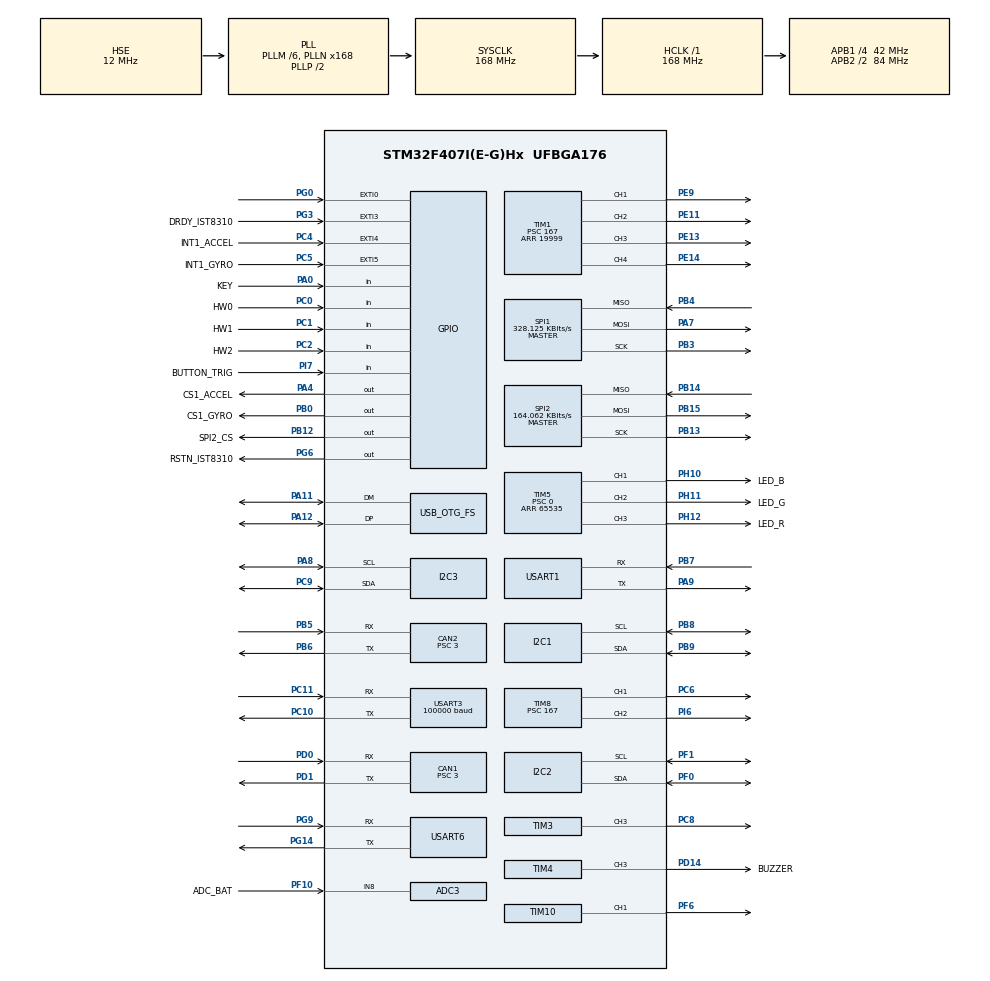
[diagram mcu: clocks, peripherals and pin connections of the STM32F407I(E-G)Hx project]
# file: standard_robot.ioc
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ADC1.Channel-0\#ChannelRegularConversion=ADC_CHANNEL_TEMPSENSOR
ADC1.ClockPrescaler=ADC_CLOCK_SYNC_PCLK_DIV6
ADC1.NbrOfConversionFlag=1
ADC1.Rank-0\#ChannelRegularConversion=1
ADC1.SamplingTime-0\#ChannelRegularConversion=ADC_SAMPLETIME_3CYCLES
ADC1.master=1
ADC3.Channel-0\#ChannelRegularConversion=ADC_CHANNEL_8
ADC3.ClockPrescaler=ADC_CLOCK_SYNC_PCLK_DIV6
ADC3.NbrOfConversionFlag=1
ADC3.Rank-0\#ChannelRegularConversion=1
ADC3.SamplingTime-0\#ChannelRegularConversion=ADC_SAMPLETIME_3CYCLES
CAN1.BS1=CAN_BS1_10TQ
CAN1.BS2=CAN_BS2_3TQ
CAN1.CalculateTimeQuantum=71.42857142857143
CAN1.Prescaler=3
CAN2.BS1=CAN_BS1_10TQ
CAN2.BS2=CAN_BS2_3TQ
CAN2.CalculateTimeQuantum=71.42857142857143
CAN2.Prescaler=3
Dma.I2C2_TX.2.Direction=DMA_MEMORY_TO_PERIPH
Dma.I2C2_TX.2.FIFOMode=DMA_FIFOMODE_DISABLE
Dma.I2C2_TX.2.Instance=DMA1_Stream7
Dma.I2C2_TX.2.MemDataAlignment=DMA_MDATAALIGN_BYTE
Dma.I2C2_TX.2.MemInc=DMA_MINC_ENABLE
Dma.I2C2_TX.2.Mode=DMA_NORMAL
Dma.I2C2_TX.2.PeriphDataAlignment=DMA_PDATAALIGN_BYTE
Dma.I2C2_TX.2.PeriphInc=DMA_PINC_DISABLE
Dma.I2C2_TX.2.Priority=DMA_PRIORITY_HIGH
Dma.Request0=SPI1_RX
Dma.Request1=SPI1_TX
Dma.Request2=I2C2_TX
Dma.Request3=USART3_RX
Dma.Request4=USART6_RX
Dma.Request5=USART6_TX
Dma.Request6=USART1_TX
Dma.Request7=USART1_RX
Dma.SPI1_RX.0.Direction=DMA_PERIPH_TO_MEMORY
Dma.SPI1_RX.0.FIFOMode=DMA_FIFOMODE_DISABLE
Dma.SPI1_RX.0.Instance=DMA2_Stream2
Dma.SPI1_RX.0.MemDataAlignment=DMA_MDATAALIGN_BYTE
Dma.SPI1_RX.0.MemInc=DMA_MINC_ENABLE
Dma.SPI1_RX.0.Mode=DMA_NORMAL
Dma.SPI1_RX.0.PeriphDataAlignment=DMA_PDATAALIGN_BYTE
Dma.SPI1_RX.0.PeriphInc=DMA_PINC_DISABLE
Dma.SPI1_RX.0.Priority=DMA_PRIORITY_VERY_HIGH
Dma.SPI1_TX.1.Direction=DMA_MEMORY_TO_PERIPH
Dma.SPI1_TX.1.FIFOMode=DMA_FIFOMODE_DISABLE
Dma.SPI1_TX.1.Instance=DMA2_Stream3
Dma.SPI1_TX.1.MemDataAlignment=DMA_MDATAALIGN_BYTE
Dma.SPI1_TX.1.MemInc=DMA_MINC_ENABLE
Dma.SPI1_TX.1.Mode=DMA_NORMAL
Dma.SPI1_TX.1.PeriphDataAlignment=DMA_PDATAALIGN_BYTE
Dma.SPI1_TX.1.PeriphInc=DMA_PINC_DISABLE
Dma.SPI1_TX.1.Priority=DMA_PRIORITY_HIGH
Dma.USART1_RX.7.Direction=DMA_PERIPH_TO_MEMORY
Dma.USART1_RX.7.FIFOMode=DMA_FIFOMODE_DISABLE
Dma.USART1_RX.7.Instance=DMA2_Stream5
Dma.USART1_RX.7.MemDataAlignment=DMA_MDATAALIGN_BYTE
Dma.USART1_RX.7.MemInc=DMA_MINC_ENABLE
Dma.USART1_RX.7.Mode=DMA_NORMAL
Dma.USART1_RX.7.PeriphDataAlignment=DMA_PDATAALIGN_BYTE
Dma.USART1_RX.7.PeriphInc=DMA_PINC_DISABLE
Dma.USART1_RX.7.Priority=DMA_PRIORITY_MEDIUM
Dma.USART1_TX.6.Direction=DMA_MEMORY_TO_PERIPH
Dma.USART1_TX.6.FIFOMode=DMA_FIFOMODE_DISABLE
Dma.USART1_TX.6.Instance=DMA2_Stream7
Dma.USART1_TX.6.MemDataAlignment=DMA_MDATAALIGN_BYTE
Dma.USART1_TX.6.MemInc=DMA_MINC_ENABLE
Dma.USART1_TX.6.Mode=DMA_NORMAL
Dma.USART1_TX.6.PeriphDataAlignment=DMA_PDATAALIGN_BYTE
Dma.USART1_TX.6.PeriphInc=DMA_PINC_DISABLE
Dma.USART1_TX.6.Priority=DMA_PRIORITY_MEDIUM
Dma.USART3_RX.3.Direction=DMA_PERIPH_TO_MEMORY
Dma.USART3_RX.3.FIFOMode=DMA_FIFOMODE_DISABLE
Dma.USART3_RX.3.Instance=DMA1_Stream1
Dma.USART3_RX.3.MemDataAlignment=DMA_MDATAALIGN_BYTE
Dma.USART3_RX.3.MemInc=DMA_MINC_ENABLE
Dma.USART3_RX.3.Mode=DMA_NORMAL
Dma.USART3_RX.3.PeriphDataAlignment=DMA_PDATAALIGN_BYTE
Dma.USART3_RX.3.PeriphInc=DMA_PINC_DISABLE
Dma.USART3_RX.3.Priority=DMA_PRIORITY_HIGH
Dma.USART6_RX.4.Direction=DMA_PERIPH_TO_MEMORY
Dma.USART6_RX.4.FIFOMode=DMA_FIFOMODE_DISABLE
Dma.USART6_RX.4.Instance=DMA2_Stream1
Dma.USART6_RX.4.MemDataAlignment=DMA_MDATAALIGN_BYTE
Dma.USART6_RX.4.MemInc=DMA_MINC_ENABLE
Dma.USART6_RX.4.Mode=DMA_NORMAL
Dma.USART6_RX.4.PeriphDataAlignment=DMA_PDATAALIGN_BYTE
Dma.USART6_RX.4.PeriphInc=DMA_PINC_DISABLE
Dma.USART6_RX.4.Priority=DMA_PRIORITY_HIGH
Dma.USART6_TX.5.Direction=DMA_MEMORY_TO_PERIPH
Dma.USART6_TX.5.FIFOMode=DMA_FIFOMODE_DISABLE
Dma.USART6_TX.5.Instance=DMA2_Stream6
Dma.USART6_TX.5.MemDataAlignment=DMA_MDATAALIGN_BYTE
Dma.USART6_TX.5.MemInc=DMA_MINC_ENABLE
Dma.USART6_TX.5.Mode=DMA_NORMAL
Dma.USART6_TX.5.PeriphDataAlignment=DMA_PDATAALIGN_BYTE
Dma.USART6_TX.5.PeriphInc=DMA_PINC_DISABLE
Dma.USART6_TX.5.Priority=DMA_PRIORITY_MEDIUM
FREERTOS.INCLUDE_eTaskGetState=1
FREERTOS.INCLUDE_pcTaskGetTaskName=1
FREERTOS.INCLUDE_uxTaskGetStackHighWaterMark=1
FREERTOS.INCLUDE_vTaskCleanUpResources=1
FREERTOS.INCLUDE_vTaskDelayUntil=1
FREERTOS.INCLUDE_xEventGroupSetBitFromISR=1
FREERTOS.INCLUDE_xQueueGetMutexHolder=1
FREERTOS.INCLUDE_xSemaphoreGetMutexHolder=1
FREERTOS.INCLUDE_xTaskAbortDelay=1
FREERTOS.INCLUDE_xTaskGetCurrentTaskHandle=1
FREERTOS.INCLUDE_xTaskGetHandle=1
FREERTOS.INCLUDE_xTimerPendFunctionCall=1
FREERTOS.Tasks01=test,24,128,test_task,As weak,NULL,Dynamic,NULL,NULL
FREERTOS.configTOTAL_HEAP_SIZE=24576
I2C1.I2C_Mode=I2C_Fast
I2C2.I2C_Mode=I2C_Fast
I2C3.I2C_Mode=I2C_Fast
Mcu.Family=STM32F4
Mcu.Name=STM32F407I(E-G)Hx
Mcu.Package=UFBGA176
NVIC.CAN1_RX0_IRQn=true\:6\:0\:true\:false\:true\:true\:true\:true
NVIC.CAN2_RX0_IRQn=true\:6\:0\:true\:false\:true\:true\:true\:true
NVIC.DMA1_Stream1_IRQn=true\:5\:0\:true\:false\:false\:true\:false\:false
NVIC.DMA1_Stream7_IRQn=true\:5\:0\:true\:false\:false\:true\:false\:true
NVIC.DMA2_Stream1_IRQn=true\:5\:0\:true\:false\:true\:true\:false\:true
NVIC.DMA2_Stream2_IRQn=true\:5\:0\:true\:false\:false\:true\:false\:true
NVIC.DMA2_Stream3_IRQn=true\:5\:0\:true\:false\:false\:true\:false\:true
NVIC.DMA2_Stream5_IRQn=true\:5\:0\:false\:false\:true\:true\:false\:true
NVIC.DMA2_Stream6_IRQn=true\:5\:0\:true\:false\:true\:true\:false\:true
NVIC.DMA2_Stream7_IRQn=true\:5\:0\:true\:false\:true\:true\:false\:true
NVIC.EXTI0_IRQn=true\:6\:0\:true\:false\:true\:true\:true\:true
NVIC.EXTI3_IRQn=true\:5\:0\:true\:false\:true\:true\:true\:true
NVIC.EXTI4_IRQn=true\:5\:0\:true\:false\:true\:true\:true\:true
NVIC.EXTI9_5_IRQn=true\:5\:0\:true\:false\:true\:true\:true\:true
NVIC.OTG_FS_IRQn=true\:5\:0\:false\:false\:true\:true\:false\:true
NVIC.PriorityGroup=NVIC_PRIORITYGROUP_4
NVIC.USART1_IRQn=true\:5\:0\:false\:false\:true\:true\:true\:true
NVIC.USART3_IRQn=true\:4\:0\:true\:false\:false\:false\:true\:true
NVIC.USART6_IRQn=true\:5\:0\:true\:false\:false\:true\:true\:true
PA0-WKUP.GPIO_Label=KEY
PA0-WKUP.GPIO_PuPd=GPIO_PULLUP
PA0-WKUP.Signal=GPIO_Input
PA11.Mode=Device_Only
PA11.Signal=USB_OTG_FS_DM
PA12.Mode=Device_Only
PA12.Signal=USB_OTG_FS_DP
PA13.Mode=Serial_Wire
PA13.Signal=SYS_JTMS-SWDIO
PA14.Mode=Serial_Wire
PA14.Signal=SYS_JTCK-SWCLK
PA4.GPIO_Label=CS1_ACCEL
PA4.GPIO_PuPd=GPIO_PULLUP
PA4.GPIO_Speed=GPIO_SPEED_FREQ_HIGH
PA4.PinState=GPIO_PIN_SET
PA4.Signal=GPIO_Output
PA7.GPIO_PuPd=GPIO_PULLUP
PA7.Mode=Full_Duplex_Master
PA7.Signal=SPI1_MOSI
PA8.Mode=I2C
PA8.Signal=I2C3_SCL
PA9.Mode=Asynchronous
PA9.Signal=USART1_TX
PB0.GPIO_Label=CS1_GYRO
PB0.GPIO_PuPd=GPIO_PULLUP
PB0.GPIO_Speed=GPIO_SPEED_FREQ_HIGH
PB0.PinState=GPIO_PIN_SET
PB0.Signal=GPIO_Output
PB12.GPIO_Label=SPI2_CS
PB12.GPIO_PuPd=GPIO_PULLUP
PB12.GPIO_Speed=GPIO_SPEED_FREQ_MEDIUM
PB12.PinState=GPIO_PIN_SET
PB12.Signal=GPIO_Output
PB13.GPIO_PuPd=GPIO_PULLUP
PB13.Mode=Full_Duplex_Master
PB13.Signal=SPI2_SCK
PB14.GPIO_PuPd=GPIO_PULLUP
PB14.Mode=Full_Duplex_Master
PB14.Signal=SPI2_MISO
PB15.GPIO_PuPd=GPIO_PULLUP
PB15.Mode=Full_Duplex_Master
PB15.Signal=SPI2_MOSI
PB3.GPIO_PuPd=GPIO_PULLUP
PB3.Mode=Full_Duplex_Master
PB3.Signal=SPI1_SCK
PB4.GPIO_PuPd=GPIO_PULLUP
PB4.Mode=Full_Duplex_Master
PB4.Signal=SPI1_MISO
PB5.Mode=Slave
PB5.Signal=CAN2_RX
PB6.Mode=Slave
PB6.Signal=CAN2_TX
PB7.Mode=Asynchronous
PB7.Signal=USART1_RX
PB8.Mode=I2C
PB8.Signal=I2C1_SCL
PB9.Mode=I2C
PB9.Signal=I2C1_SDA
PC0.GPIO_Label=HW0
PC0.Signal=GPIO_Input
PC1.GPIO_Label=HW1
PC1.Signal=GPIO_Input
PC10.Mode=Asynchronous
PC10.Signal=USART3_TX
PC11.Mode=Asynchronous
PC11.Signal=USART3_RX
PC2.GPIO_Label=HW2
PC2.Signal=GPIO_Input
PC4.GPIO_Label=INT1_ACCEL
PC4.GPIO_ModeDefaultEXTI=GPIO_MODE_IT_FALLING
PC4.GPIO_PuPd=GPIO_PULLUP
PC4.Signal=GPXTI4
PC5.GPIO_Label=INT1_GYRO
PC5.GPIO_ModeDefaultEXTI=GPIO_MODE_IT_FALLING
PC5.GPIO_PuPd=GPIO_PULLUP
PC5.Signal=GPXTI5
PC6.GPIO_PuPd=GPIO_PULLUP
PC6.GPIO_Speed=GPIO_SPEED_FREQ_HIGH
PC6.Signal=S_TIM8_CH1
PC8.GPIO_PuPd=GPIO_PULLUP
PC8.GPIO_Speed=GPIO_SPEED_FREQ_HIGH
PC8.Signal=S_TIM3_CH3
PC9.Mode=I2C
PC9.Signal=I2C3_SDA
PD0.Mode=Master
PD0.Signal=CAN1_RX
PD1.Mode=Master
PD1.Signal=CAN1_TX
PD14.GPIO_Label=BUZZER
PD14.GPIO_PuPd=GPIO_PULLUP
PD14.GPIO_Speed=GPIO_SPEED_FREQ_VERY_HIGH
PD14.Signal=S_TIM4_CH3
PE11.GPIO_PuPd=GPIO_PULLUP
PE11.GPIO_Speed=GPIO_SPEED_FREQ_HIGH
PE11.Signal=S_TIM1_CH2
PE13.GPIO_PuPd=GPIO_PULLUP
PE13.GPIO_Speed=GPIO_SPEED_FREQ_HIGH
PE13.Signal=S_TIM1_CH3
PE14.GPIO_PuPd=GPIO_PULLUP
PE14.GPIO_Speed=GPIO_SPEED_FREQ_HIGH
PE14.Signal=S_TIM1_CH4
PE9.GPIO_PuPd=GPIO_PULLUP
PE9.GPIO_Speed=GPIO_SPEED_FREQ_HIGH
PE9.Signal=S_TIM1_CH1
PF0.Mode=I2C
PF0.Signal=I2C2_SDA
PF1.Mode=I2C
PF1.Signal=I2C2_SCL
PF10.GPIO_Label=ADC_BAT
PF10.Mode=IN8
PF10.Signal=ADC3_IN8
PF6.GPIO_PuPd=GPIO_PULLUP
PF6.GPIO_Speed=GPIO_SPEED_FREQ_HIGH
PF6.Signal=S_TIM10_CH1
PG0.GPIO_ModeDefaultEXTI=GPIO_MODE_IT_FALLING
PG0.GPIO_PuPd=GPIO_PULLUP
PG0.Signal=GPXTI0
PG14.Mode=Asynchronous
PG14.Signal=USART6_TX
PG3.GPIO_Label=DRDY_IST8310
PG3.GPIO_ModeDefaultEXTI=GPIO_MODE_IT_FALLING
PG3.GPIO_PuPd=GPIO_PULLUP
PG3.Signal=GPXTI3
PG6.GPIO_Label=RSTN_IST8310
PG6.GPIO_PuPd=GPIO_PULLUP
PG6.GPIO_Speed=GPIO_SPEED_FREQ_MEDIUM
PG6.PinState=GPIO_PIN_SET
PG6.Signal=GPIO_Output
PG9.Mode=Asynchronous
PG9.Signal=USART6_RX
PH0-OSC_IN.Mode=HSE-External-Oscillator
PH0-OSC_IN.Signal=RCC_OSC_IN
PH1-OSC_OUT.Mode=HSE-External-Oscillator
PH1-OSC_OUT.Signal=RCC_OSC_OUT
PH10.GPIO_Label=LED_B
PH10.GPIO_PuPd=GPIO_PULLUP
PH10.GPIO_Speed=GPIO_SPEED_FREQ_HIGH
PH10.Signal=S_TIM5_CH1
PH11.GPIO_Label=LED_G
PH11.GPIO_PuPd=GPIO_PULLUP
PH11.GPIO_Speed=GPIO_SPEED_FREQ_HIGH
PH11.Signal=S_TIM5_CH2
PH12.GPIO_Label=LED_R
PH12.GPIO_PuPd=GPIO_PULLUP
PH12.GPIO_Speed=GPIO_SPEED_FREQ_HIGH
PH12.Signal=S_TIM5_CH3
PI6.GPIO_PuPd=GPIO_PULLUP
PI6.GPIO_Speed=GPIO_SPEED_FREQ_HIGH
PI6.Signal=S_TIM8_CH2
PI7.GPIO_Label=BUTTON_TRIG
PI7.GPIO_PuPd=GPIO_PULLUP
PI7.Signal=GPIO_Input
ProjectManager.HeapSize=0x2000
ProjectManager.StackSize=0x2000
ProjectManager.TargetToolchain=CMake
RCC.48MHZClocksFreq_Value=48000000
RCC.AHBFreq_Value=168000000
RCC.APB1CLKDivider=RCC_HCLK_DIV4
RCC.APB1Freq_Value=42000000
RCC.APB1TimFreq_Value=84000000
RCC.APB2CLKDivider=RCC_HCLK_DIV2
RCC.APB2Freq_Value=84000000
RCC.APB2TimFreq_Value=168000000
RCC.CortexFreq_Value=168000000
RCC.HCLKFreq_Value=168000000
RCC.HSE_VALUE=12000000
RCC.HSI_VALUE=16000000
RCC.LSE_VALUE=32768
RCC.PLLM=6
RCC.PLLN=168
RCC.PLLQ=7
RCC.RCC_RTC_Clock_SourceVirtual=RCC_RTCCLKSOURCE_HSE_DIV30
RCC.RCC_RTC_Clock_Source_FROM_HSE=RCC_RTCCLKSOURCE_HSE_DIV30
RCC.SYSCLKFreq_VALUE=168000000
RCC.SYSCLKSource=RCC_SYSCLKSOURCE_PLLCLK
RCC.VCOOutputFreq_Value=336000000
RTC.AsynchPrediv=124
RTC.SynchPrediv=3199
SH.S_TIM10_CH1.0=TIM10_CH1,PWM Generation1 CH1
SH.S_TIM1_CH1.0=TIM1_CH1,PWM Generation1 CH1
SH.S_TIM1_CH2.0=TIM1_CH2,PWM Generation2 CH2
SH.S_TIM1_CH3.0=TIM1_CH3,PWM Generation3 CH3
SH.S_TIM1_CH4.0=TIM1_CH4,PWM Generation4 CH4
SH.S_TIM3_CH3.0=TIM3_CH3,PWM Generation3 CH3
SH.S_TIM4_CH3.0=TIM4_CH3,PWM Generation3 CH3
SH.S_TIM5_CH1.0=TIM5_CH1,PWM Generation1 CH1
SH.S_TIM5_CH2.0=TIM5_CH2,PWM Generation2 CH2
SH.S_TIM5_CH3.0=TIM5_CH3,PWM Generation3 CH3
SH.S_TIM8_CH1.0=TIM8_CH1,PWM Generation1 CH1
SH.S_TIM8_CH2.0=TIM8_CH2,PWM Generation2 CH2
SPI1.BaudRatePrescaler=SPI_BAUDRATEPRESCALER_256
SPI1.CLKPhase=SPI_PHASE_2EDGE
SPI1.CLKPolarity=SPI_POLARITY_HIGH
SPI1.CalculateBaudRate=328.125 KBits/s
SPI1.Direction=SPI_DIRECTION_2LINES
SPI1.Mode=SPI_MODE_MASTER
SPI1.VirtualType=VM_MASTER
SPI2.BaudRatePrescaler=SPI_BAUDRATEPRESCALER_256
SPI2.CLKPhase=SPI_PHASE_1EDGE
SPI2.CLKPolarity=SPI_POLARITY_LOW
SPI2.CalculateBaudRate=164.062 KBits/s
SPI2.Direction=SPI_DIRECTION_2LINES
SPI2.FirstBit=SPI_FIRSTBIT_LSB
SPI2.Mode=SPI_MODE_MASTER
SPI2.VirtualType=VM_MASTER
TIM1.Channel-PWM\ Generation1\ CH1=TIM_CHANNEL_1
TIM1.Channel-PWM\ Generation2\ CH2=TIM_CHANNEL_2
TIM1.Channel-PWM\ Generation3\ CH3=TIM_CHANNEL_3
TIM1.Channel-PWM\ Generation4\ CH4=TIM_CHANNEL_4
TIM1.Period=19999
TIM1.Prescaler=167
TIM1.Pulse-PWM\ Generation1\ CH1=1000
TIM1.Pulse-PWM\ Generation2\ CH2=1000
TIM1.Pulse-PWM\ Generation3\ CH3=1000
TIM1.Pulse-PWM\ Generation4\ CH4=1000
TIM10.Channel=TIM_CHANNEL_1
TIM10.Period=4999
TIM3.Channel-PWM\ Generation3\ CH3=TIM_CHANNEL_3
TIM3.Period=8399
TIM4.Channel-PWM\ Generation3\ CH3=TIM_CHANNEL_3
TIM4.Period=65535
TIM4.Prescaler=167
TIM5.Channel-PWM\ Generation1\ CH1=TIM_CHANNEL_1
TIM5.Channel-PWM\ Generation2\ CH2=TIM_CHANNEL_2
TIM5.Channel-PWM\ Generation3\ CH3=TIM_CHANNEL_3
TIM5.Period=65535
TIM5.Prescaler=0
TIM8.Channel-PWM\ Generation1\ CH1=TIM_CHANNEL_1
TIM8.Channel-PWM\ Generation2\ CH2=TIM_CHANNEL_2
TIM8.Period=19999
TIM8.Prescaler=167
TIM8.Pulse-PWM\ Generation1\ CH1=1000
TIM8.Pulse-PWM\ Generation2\ CH2=1000
USART1.VirtualMode=VM_ASYNC
USART3.BaudRate=100000
USART3.Parity=PARITY_EVEN
USART3.VirtualMode=VM_ASYNC
USART6.VirtualMode=VM_ASYNC
USB_DEVICE.CLASS_NAME_FS=CDC
USB_DEVICE.VirtualMode-CDC_FS=Cdc
USB_DEVICE.VirtualModeFS=Cdc_FS
USB_OTG_FS.VirtualMode=Device_Only
VP_ADC1_TempSens_Input.Mode=IN-TempSens
VP_ADC1_Vref_Input.Mode=IN-Vrefint
VP_CRC_VS_CRC.Mode=CRC_Activate
VP_FREERTOS_VS_CMSIS_V1.Mode=CMSIS_V1
VP_RNG_VS_RNG.Mode=RNG_Activate
VP_RTC_VS_RTC_Activate.Mode=RTC_Enabled
VP_TIM10_VS_ClockSourceINT.Mode=Enable_Timer
VP_TIM1_VS_ClockSourceINT.Mode=Internal
VP_TIM3_VS_ClockSourceINT.Mode=Internal
VP_TIM4_VS_ClockSourceINT.Mode=Internal
VP_TIM5_VS_ClockSourceINT.Mode=Internal
VP_TIM8_VS_ClockSourceINT.Mode=Internal
VP_USB_DEVICE_VS_USB_DEVICE_CDC_FS.Mode=CDC_FS
board=custom

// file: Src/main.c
/* USER CODE BEGIN Header */
/**
  ******************************************************************************
  * @file           : main.c
  * @brief          : Main program body
  ******************************************************************************
  * @attention
  *
  * <h2><center>&copy; Copyright (c) 2019 STMicroelectronics.
  * All rights reserved.</center></h2>
  *
  * This software component is licensed by ST under Ultimate Liberty license
  * SLA0044, the "License"; You may not use this file except in compliance with
  * the License. You may obtain a copy of the License at:
  *                             www.st.com/SLA0044
  *
  ******************************************************************************
  */
/* USER CODE END Header */

#include "main.h"
#include "cmsis_os.h"
#include "adc.h"
#include "can.h"
#include "crc.h"
#include "dma.h"
#include "i2c.h"
#include "rng.h"
#include "rtc.h"
#include "spi.h"
#include "tim.h"
#include "usart.h"
#include "usb_device.h"
#include "gpio.h"

/* USER CODE BEGIN Includes */
#include "bsp_can.h"
#include "bsp_delay.h"
#include "bsp_usart.h"
#include "remote_control.h"

#include "chassis_task.h"
#include "detect_task.h"
#include "IMU_task.h"
#include "oled_task.h"
#include "usb_task.h"
/* USER CODE END Includes */

void SystemClock_Config(void);
void MX_FREERTOS_Init(void);

int main(void)
{

  /* MCU Configuration--------------------------------------------------------*/

  /* Reset of all peripherals, Initializes the Flash interface and the Systick. */
  HAL_Init();

  /* Configure the system clock */
  SystemClock_Config();

  /* Initialize all configured peripherals */
  MX_GPIO_Init();
  MX_DMA_Init();
  MX_ADC1_Init();
  MX_ADC3_Init();
  MX_CAN1_Init();
  MX_CAN2_Init();
  MX_I2C1_Init();
  MX_SPI1_Init();
  MX_TIM4_Init();
  MX_TIM5_Init();
  MX_USART3_UART_Init();
  MX_TIM8_Init();
  MX_CRC_Init();
  MX_RNG_Init();
  MX_I2C2_Init();
  MX_I2C3_Init();
  MX_RTC_Init();
  MX_SPI2_Init();
  MX_TIM1_Init();
  MX_TIM3_Init();
  MX_TIM10_Init();
  MX_USART1_UART_Init();
  MX_USART6_UART_Init();
  /* USER CODE BEGIN 2 */
    can_filter_init();
    delay_init();
    remote_control_init();
    usart1_tx_dma_init();
  /* USER CODE END 2 */

  /* Call init function for freertos objects (in freertos.c) */
  MX_FREERTOS_Init();

  /* Start scheduler */
  osKernelStart();

  /* We should never get here as control is now taken by the scheduler */

  /* Infinite loop */
  while (1)
  {

  }
}

void SystemClock_Config(void)
{
  RCC_OscInitTypeDef RCC_OscInitStruct = {0};
  RCC_ClkInitTypeDef RCC_ClkInitStruct = {0};
  RCC_PeriphCLKInitTypeDef PeriphClkInitStruct = {0};

  /** Configure the main internal regulator output voltage
  */
  __HAL_RCC_PWR_CLK_ENABLE();
  __HAL_PWR_VOLTAGESCALING_CONFIG(PWR_REGULATOR_VOLTAGE_SCALE1);
  /** Initializes the CPU, AHB and APB busses clocks
  */
  RCC_OscInitStruct.OscillatorType = RCC_OSCILLATORTYPE_HSE;
  RCC_OscInitStruct.HSEState = RCC_HSE_ON;
  RCC_OscInitStruct.PLL.PLLState = RCC_PLL_ON;
  RCC_OscInitStruct.PLL.PLLSource = RCC_PLLSOURCE_HSE;
  RCC_OscInitStruct.PLL.PLLM = 6;
  RCC_OscInitStruct.PLL.PLLN = 168;
  RCC_OscInitStruct.PLL.PLLP = RCC_PLLP_DIV2;
  RCC_OscInitStruct.PLL.PLLQ = 7;
  if (HAL_RCC_OscConfig(&RCC_OscInitStruct) != HAL_OK)
  {
    Error_Handler();
  }
  /** Initializes the CPU, AHB and APB busses clocks
  */
  RCC_ClkInitStruct.ClockType = RCC_CLOCKTYPE_HCLK|RCC_CLOCKTYPE_SYSCLK
                              |RCC_CLOCKTYPE_PCLK1|RCC_CLOCKTYPE_PCLK2;
  RCC_ClkInitStruct.SYSCLKSource = RCC_SYSCLKSOURCE_PLLCLK;
  RCC_ClkInitStruct.AHBCLKDivider = RCC_SYSCLK_DIV1;
  RCC_ClkInitStruct.APB1CLKDivider = RCC_HCLK_DIV4;
  RCC_ClkInitStruct.APB2CLKDivider = RCC_HCLK_DIV2;

  if (HAL_RCC_ClockConfig(&RCC_ClkInitStruct, FLASH_LATENCY_5) != HAL_OK)
  {
    Error_Handler();
  }
  PeriphClkInitStruct.PeriphClockSelection = RCC_PERIPHCLK_RTC;
  PeriphClkInitStruct.RTCClockSelection = RCC_RTCCLKSOURCE_HSE_DIV30;
  if (HAL_RCCEx_PeriphCLKConfig(&PeriphClkInitStruct) != HAL_OK)
  {
    Error_Handler();
  }
}

void Error_Handler(void)
{
}

/************************ (C) COPYRIGHT STMicroelectronics *****END OF FILE****/

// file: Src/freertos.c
/* USER CODE BEGIN Header */
/**
  ******************************************************************************
  * File Name          : freertos.c
  * Description        : Code for freertos applications
  ******************************************************************************
  * @attention
  *
  * <h2><center>&copy; Copyright (c) 2019 STMicroelectronics.
  * All rights reserved.</center></h2>
  *
  * This software component is licensed by ST under Ultimate Liberty license
  * SLA0044, the "License"; You may not use this file except in compliance with
  * the License. You may obtain a copy of the License at:
  *                             www.st.com/SLA0044
  *
  ******************************************************************************
  */
/* USER CODE END Header */

#include "FreeRTOS.h"
#include "task.h"
#include "main.h"
#include "cmsis_os.h"

/* USER CODE BEGIN Includes */
#include "robot_param.h"

#include "chassis_task.h"
#include "detect_task.h"
#include "IMU_task.h"
#include "oled_task.h"
#include "usb_task.h"
#include "music_task.h"
#include "develop_task.h"
#include "communication_task.h"
#include "ps2_task.h"
#include "voltage_task.h"
/* USER CODE END Includes */

/* USER CODE BEGIN PTD */

osThreadId detect_handle;

osThreadId communication_handle;

#if (CHASSIS_TYPE != CHASSIS_NONE)
osThreadId chassisTaskHandle;
#endif

osThreadId musicTaskHandle;

#if (__DEVELOP)
osThreadId developTaskHandle;
#endif

osThreadId imuTaskHandle;

osThreadId chassisTaskHandle;

osThreadId led_RGB_flow_handle;

osThreadId oled_handle;

osThreadId usb_task_handle;

#if (__CONTROL_LINK_PS2 == CL_PS2_DIRECT)
osThreadId ps2_task_handle;
#endif

// osThreadId usb_send_task_handle;

// osThreadId usb_receive_task_handle;

osThreadId battery_voltage_handle;

/* USER CODE END PTD */

osThreadId testHandle;

void test_task(void const * argument);

extern void MX_USB_DEVICE_Init(void);
void MX_FREERTOS_Init(void); /* (MISRA C 2004 rule 8.1) */

/* GetIdleTaskMemory prototype (linked to static allocation support) */
void vApplicationGetIdleTaskMemory( StaticTask_t **ppxIdleTaskTCBBuffer, StackType_t **ppxIdleTaskStackBuffer, uint32_t *pulIdleTaskStackSize );

/* GetTimerTaskMemory prototype (linked to static allocation support) */
void vApplicationGetTimerTaskMemory( StaticTask_t **ppxTimerTaskTCBBuffer, StackType_t **ppxTimerTaskStackBuffer, uint32_t *pulTimerTaskStackSize );

/* USER CODE BEGIN GET_IDLE_TASK_MEMORY */
static StaticTask_t xIdleTaskTCBBuffer;
static StackType_t xIdleStack[configMINIMAL_STACK_SIZE];

void vApplicationGetIdleTaskMemory( StaticTask_t **ppxIdleTaskTCBBuffer, StackType_t **ppxIdleTaskStackBuffer, uint32_t *pulIdleTaskStackSize )
{
  *ppxIdleTaskTCBBuffer = &xIdleTaskTCBBuffer;
  *ppxIdleTaskStackBuffer = &xIdleStack[0];
  *pulIdleTaskStackSize = configMINIMAL_STACK_SIZE;
  /* place for user code */
}
/* USER CODE END GET_IDLE_TASK_MEMORY */

/* USER CODE BEGIN GET_TIMER_TASK_MEMORY */
static StaticTask_t xTimerTaskTCBBuffer;
static StackType_t xTimerStack[configTIMER_TASK_STACK_DEPTH];

void vApplicationGetTimerTaskMemory( StaticTask_t **ppxTimerTaskTCBBuffer, StackType_t **ppxTimerTaskStackBuffer, uint32_t *pulTimerTaskStackSize )
{
  *ppxTimerTaskTCBBuffer = &xTimerTaskTCBBuffer;
  *ppxTimerTaskStackBuffer = &xTimerStack[0];
  *pulTimerTaskStackSize = configTIMER_TASK_STACK_DEPTH;
  /* place for user code */
}
/* USER CODE END GET_TIMER_TASK_MEMORY */

void MX_FREERTOS_Init(void) {

  /* Create the thread(s) */
  /* definition and creation of test */
  // osThreadDef(test, test_task, osPriorityNormal, 0, 128);
  // testHandle = osThreadCreate(osThread(test), NULL);

  /* USER CODE BEGIN RTOS_THREADS */
  /* add threads, ... */
//    osThreadDef(DETECT, detect_task, osPriorityNormal, 0, 256);
//    detect_handle = osThreadCreate(osThread(DETECT), NULL);

    // osThreadDef(COMMUNICATION, communication_task, osPriorityNormal, 0, 256);
    // communication_handle = osThreadCreate(osThread(COMMUNICATION), NULL);

    osThreadDef(ChassisTask, chassis_task, osPriorityAboveNormal, 0, 512);
    chassisTaskHandle = osThreadCreate(osThread(ChassisTask), NULL);

//   osThreadDef(musicTask, music_task, osPriorityNormal, 0, 256);
//   musicTaskHandle = osThreadCreate(osThread(musicTask), NULL);

#if (__DEVELOP)
    osThreadDef(developTask, develop_task, osPriorityNormal, 0, 256);
    developTaskHandle = osThreadCreate(osThread(developTask), NULL);
#endif

    osThreadDef(imuTask, IMU_task, osPriorityRealtime, 0, 1024);
    imuTaskHandle = osThreadCreate(osThread(imuTask), NULL);

    osThreadDef(OLED, oled_task, osPriorityLow, 0, 256);
    oled_handle = osThreadCreate(osThread(OLED), NULL);

    osThreadDef(USB_Task, usb_task, osPriorityNormal, 0, 128);
    usb_task_handle = osThreadCreate(osThread(USB_Task), NULL);

#if (__CONTROL_LINK_PS2 == CL_PS2_DIRECT)
    osThreadDef(PS2_Task, ps2_task, osPriorityNormal, 0, 128);
    ps2_task_handle = osThreadCreate(osThread(PS2_Task), NULL);
#endif

    osThreadDef(BATTERY_VOLTAGE, battery_voltage_task, osPriorityNormal, 0, 128);
    battery_voltage_handle = osThreadCreate(osThread(BATTERY_VOLTAGE), NULL);

  /* USER CODE END RTOS_THREADS */

}

__weak void test_task(void const * argument)
{
  /* init code for USB_DEVICE */
  MX_USB_DEVICE_Init();

  for(;;)
  {
    osDelay(1);
  }
}

/************************ (C) COPYRIGHT STMicroelectronics *****END OF FILE****/
